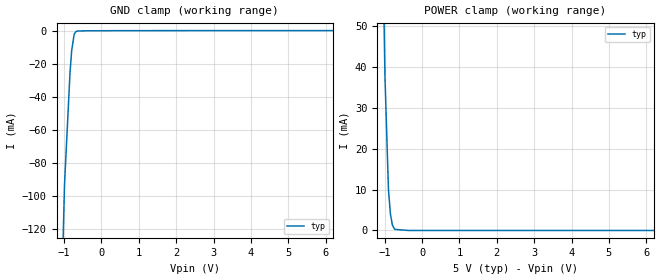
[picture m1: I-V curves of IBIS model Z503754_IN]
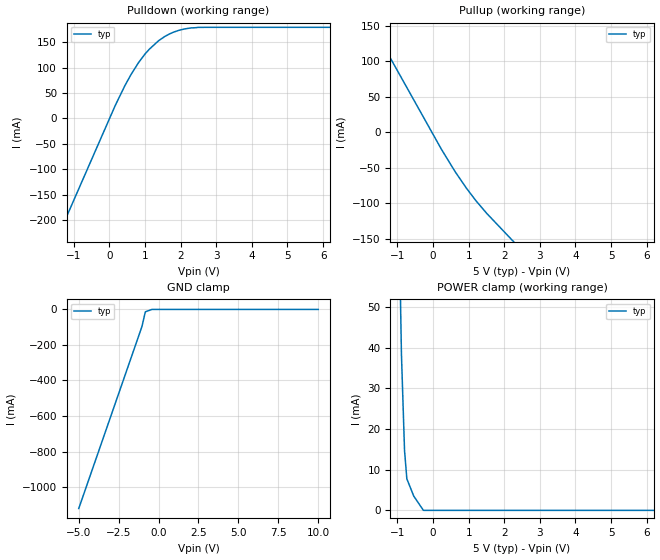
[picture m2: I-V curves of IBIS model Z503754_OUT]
| YOU ARE ONLY AUTHORIZED TO USE THIS SOFTWARE
| ACCORDING TO LICENSOR'S LICENSE RESTRICTIONS.
[IBIS Ver] 3.1
[File Name] mc74ac190n.ibs
[File Rev] 2.0
[Source] Measured and created by ICX Technology
[Date] Friday 7/14/00 9:07:59 AM
[Copyright]
| (C) COPYRIGHT 1993-2000
| MENTOR GRAPHICS CORPORATION
| ICX STANDARD LIBRARY, ICX PROJECT MODELING,
| ICX CUSTOM MODELING, ICX VENDOR MODEL
| ALL RIGHTS RESERVED.
| THE FOLLOWING ARE TRADEMARKS OR SERVICE MARKS OF
| MENTOR GRAPHICS CORPORATION:ICX (R), ICX STANDARD
| LIBRARY(R), ICX PROJECT MODELING(R), ICX CUSTOM
| MODELING(R), qualityIBIS(TM), MODELVIEWER(TM),
| AND MODELEDITOR(TM)
| ALL COPIES OF SOFTWARE, INCLUDING BUT NOT LIMITED TO
| ANY MODIFICATIONS, ENHANCEMENTS OR DERIVATIVE WORKS,
| MUST CONTAIN ALL MENTOR GRAPHICS CORPORATION'S
| NOTICES AND LEGENDS, INCLUDING THOSE EMBEDDED IN
| SOFTWARE AND THOSE AFFIXED TO SOFTWARE MEDIUM
| AND CONTAINER, AS RECEIVED FROM MENTOR GRAPHICS
| CORPORATION.
|  ZAP Model Builder 2.7
[Component] MC74AC190N
[Manufacturer] OnSemiconductor
[Package]
| variable   typ   min   max
R_pkg  .212ohms NA NA
L_pkg  4.758nH NA NA
C_pkg  1.143pF NA NA
[Pin] signal_name  model_name  R_pin  L_pin C_pin
1 B Z503754_IN .224 7.258n 1.578p
2 QB Z503754_OUT .216 5.258n 1.288p
3 QA Z503754_OUT .208 3.758n .998p
4 _CTEN Z503754_IN .2 2.758n .708p
5 D_U Z503754_IN .2 2.758n .708p
6 QC Z503754_OUT .208 3.758n .998p
7 QD Z503754_OUT .216 5.258n 1.288p
8 GND GND .224 7.258n 1.578p
9 D Z503754_IN .224 7.258n 1.578p
10 C Z503754_IN .216 5.258n 1.288p
11 _LOAD Z503754_IN .208 3.758n .998p
12 MAX_MIN Z503754_OUT .2 2.758n .708p
13 _RCO Z503754_OUT .2 2.758n .708p
14 CLK Z503754_IN .208 3.758n .998p
15 A Z503754_IN .216 5.258n 1.288p
16 VCC POWER .224 7.258n 1.578p
| Models and submodels in the file (2): Z503754_IN (Input), Z503754_OUT (Output)
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| (C) COPYRIGHT 1993-2000
| MENTOR GRAPHICS CORPORATION
| ICX STANDARD LIBRARY, ICX PROJECT MODELING,
| ICX CUSTOM MODELING, ICX VENDOR MODEL
| ALL RIGHTS RESERVED.
| THE FOLLOWING ARE TRADEMARKS OR SERVICE MARKS OF
| MENTOR GRAPHICS CORPORATION:ICX (R), ICX STANDARD
| LIBRARY(R), ICX PROJECT MODELING(R), ICX CUSTOM
| MODELING(R), qualityIBIS(TM), MODELVIEWER(TM),
| AND MODELEDITOR(TM)
| ALL COPIES OF SOFTWARE, INCLUDING BUT NOT LIMITED TO
| ANY MODIFICATIONS, ENHANCEMENTS OR DERIVATIVE WORKS,
| MUST CONTAIN ALL MENTOR GRAPHICS CORPORATION'S
| NOTICES AND LEGENDS, INCLUDING THOSE EMBEDDED IN
| SOFTWARE AND THOSE AFFIXED TO SOFTWARE MEDIUM
| AND CONTAINER, AS RECEIVED FROM MENTOR GRAPHICS
| CORPORATION.
| Model Application Version 1.89 2/18/99.
[Model] Z503754_IN
Model_type Input
Vinl = 1.500V
Vinh = 3.500V
C_comp 4.000pF NA NA
| variable typ   min   max
[Voltage Range] 5.000V NA NA
[GND Clamp Reference] 0.000V NA NA
[POWER Clamp Reference] 5.000V NA NA
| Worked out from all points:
|   GND clamp passes 1 mA (typ) near -0.70 V on its own axis
|   POWER clamp passes 1 mA (typ) near -0.77 V on its own axis
[GND Clamp]
-5V       -3.624A    NA         NA
-985.9mV  -93.07mA   NA         NA
-839.7mV  -25.54mA   NA         NA
-795.8mV  -12.12mA   NA         NA
-727.7mV  -2.003mA   NA         NA
-684.3mV  -523.1uA   NA         NA
-645.3mV  -107uA     NA         NA
10V       180uA      NA         NA
[POWER Clamp]
-5V       3.239A     NA         NA
-1.103V   100.7mA    NA         NA
-991mV    37.6mA     NA         NA
-898mV    10.08mA    NA         NA
-845mV    3.983mA    NA         NA
-791mV    1.274mA    NA         NA
-728mV    269.3uA    NA         NA
-364mV    0A         NA         NA
10V       0A         NA         NA
| (C) COPYRIGHT 1993-2000
| MENTOR GRAPHICS CORPORATION
| ICX STANDARD LIBRARY, ICX PROJECT MODELING,
| ICX CUSTOM MODELING, ICX VENDOR MODEL
| ALL RIGHTS RESERVED.
| THE FOLLOWING ARE TRADEMARKS OR SERVICE MARKS OF
| MENTOR GRAPHICS CORPORATION:ICX (R), ICX STANDARD
| LIBRARY(R), ICX PROJECT MODELING(R), ICX CUSTOM
| MODELING(R), qualityIBIS(TM), MODELVIEWER(TM),
| AND MODELEDITOR(TM)
| ALL COPIES OF SOFTWARE, INCLUDING BUT NOT LIMITED TO
| ANY MODIFICATIONS, ENHANCEMENTS OR DERIVATIVE WORKS,
| MUST CONTAIN ALL MENTOR GRAPHICS CORPORATION'S
| NOTICES AND LEGENDS, INCLUDING THOSE EMBEDDED IN
| SOFTWARE AND THOSE AFFIXED TO SOFTWARE MEDIUM
| AND CONTAINER, AS RECEIVED FROM MENTOR GRAPHICS
| CORPORATION.
| Model Application Version 1.89 2/18/99.
[Model] Z503754_OUT
Model_type Output
Vref=0.000V
Rref=500.0ohms
Cref=50.00pF
Vmeas=2.500V
C_comp 8.000pF NA NA
| variable typ   min   max
[Voltage Range] 5.000V NA NA
[POWER Clamp Reference] 5.000V NA NA
[Pullup Reference] 5.000V NA NA
[Pulldown Reference] 0.000V NA NA
[GND Clamp Reference] 0.000V NA NA
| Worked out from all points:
|   slope of the pulldown table from 0 to 0.75 V, typ, clamps not added: 7.28 ohm
|   slope of the pullup table from 0 to 0.75 V, typ, clamps not added: 12.1 ohm
[GND Clamp]
-5V       -1.121A    NA         NA
-1.04V    -96.07mA   NA         NA
-830.1mV  -13.51mA   NA         NA
-415mV    0A         NA         NA
10V       0A         NA         NA
[Pulldown]
-5V       -801.6mA   NA         NA
161.5mV   25.5mA     NA         NA
436mV     65.06mA    NA         NA
611.3mV   87.29mA    NA         NA
825.2mV   110.9mA    NA         NA
1.006V    127.6mA    NA         NA
1.378V    153mA      NA         NA
1.548V    161.2mA    NA         NA
1.797V    169.9mA    NA         NA
2.114V    176.4mA    NA         NA
2.49V     179.4mA    NA         NA
10V       179.5mA    NA         NA
[Pullup]
-5V       444.6mA    NA         NA
238mV     -24.47mA   NA         NA
622mV     -55.9mA    NA         NA
937mV     -78.97mA   NA         NA
1.197V    -96.2mA    NA         NA
1.5V      -114.1mA   NA         NA
10V       -562.7mA   NA         NA
[POWER Clamp]
-5V       2.792A     NA         NA
-1.011V   99.52mA    NA         NA
-888mV    38.34mA    NA         NA
-801mV    14.64mA    NA         NA
-736mV    7.748mA    NA         NA
-542mV    3.5mA      NA         NA
-271mV    0A         NA         NA
10V       0A         NA         NA
[Ramp]
| variable typ min max
dV/dt_r 2.954/450.1p NA NA
dV/dt_f 2.954/296.6p NA NA
R_load = 500.0Ohms
